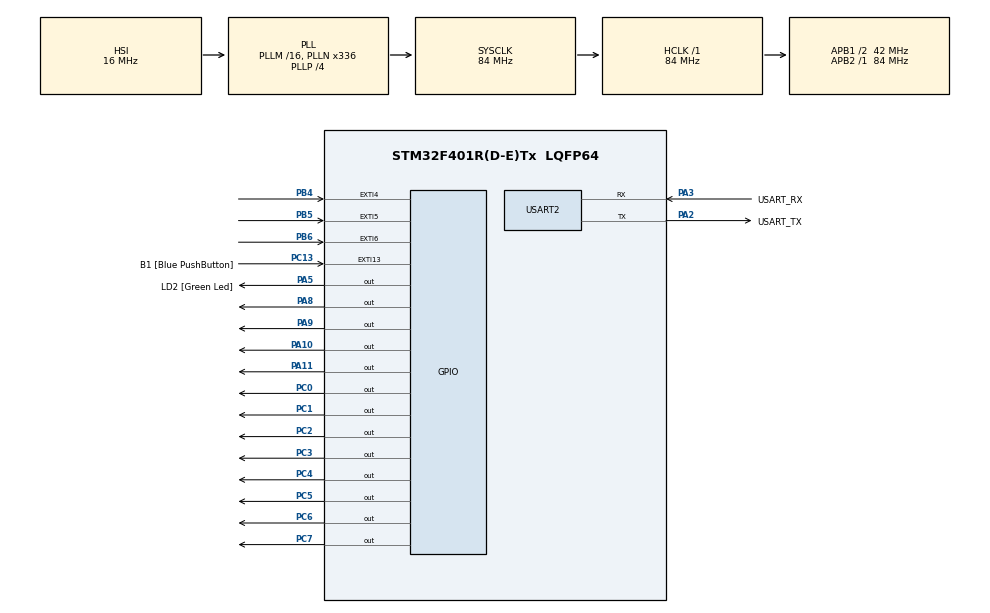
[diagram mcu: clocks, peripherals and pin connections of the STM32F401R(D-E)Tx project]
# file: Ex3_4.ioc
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Mcu.Family=STM32F4
Mcu.Name=STM32F401R(D-E)Tx
Mcu.Package=LQFP64
NVIC.EXTI15_10_IRQn=true\:0\:0\:false\:false\:true\:true\:true\:true
NVIC.EXTI4_IRQn=true\:0\:0\:false\:false\:true\:true\:true\:true
NVIC.EXTI9_5_IRQn=true\:0\:0\:false\:false\:true\:true\:true\:true
NVIC.PriorityGroup=NVIC_PRIORITYGROUP_0
PA10.Signal=GPIO_Output
PA11.Signal=GPIO_Output
PA13.GPIO_Label=TMS
PA13.Mode=Serial_Wire
PA13.Signal=SYS_JTMS-SWDIO
PA14.GPIO_Label=TCK
PA14.Mode=Serial_Wire
PA14.Signal=SYS_JTCK-SWCLK
PA2.GPIO_Label=USART_TX
PA2.GPIO_Mode=GPIO_MODE_AF_PP
PA2.GPIO_PuPd=GPIO_NOPULL
PA2.GPIO_Speed=GPIO_SPEED_FREQ_LOW
PA2.Mode=Asynchronous
PA2.Signal=USART2_TX
PA3.GPIO_Label=USART_RX
PA3.GPIO_Mode=GPIO_MODE_AF_PP
PA3.GPIO_PuPd=GPIO_NOPULL
PA3.GPIO_Speed=GPIO_SPEED_FREQ_LOW
PA3.Mode=Asynchronous
PA3.Signal=USART2_RX
PA5.GPIO_Label=LD2 [Green Led]
PA5.GPIO_Mode=GPIO_MODE_OUTPUT_PP
PA5.GPIO_PuPd=GPIO_NOPULL
PA5.GPIO_Speed=GPIO_SPEED_FREQ_LOW
PA5.Signal=GPIO_Output
PA8.Signal=GPIO_Output
PA9.Signal=GPIO_Output
PB3.GPIO_Label=SWO
PB3.Signal=SYS_JTDO-SWO
PB4.GPIO_PuPd=GPIO_PULLUP
PB4.Signal=GPXTI4
PB5.GPIO_ModeDefaultEXTI=GPIO_MODE_IT_FALLING
PB5.GPIO_PuPd=GPIO_PULLUP
PB5.Signal=GPXTI5
PB6.GPIO_ModeDefaultEXTI=GPIO_MODE_IT_RISING_FALLING
PB6.GPIO_PuPd=GPIO_PULLUP
PB6.Signal=GPXTI6
PC0.Signal=GPIO_Output
PC1.Signal=GPIO_Output
PC13-ANTI_TAMP.GPIO_Label=B1 [Blue PushButton]
PC13-ANTI_TAMP.GPIO_ModeDefaultEXTI=GPIO_MODE_IT_FALLING
PC13-ANTI_TAMP.GPIO_PuPd=GPIO_NOPULL
PC13-ANTI_TAMP.Signal=GPXTI13
PC14-OSC32_IN.Mode=LSE-External-Oscillator
PC14-OSC32_IN.Signal=RCC_OSC32_IN
PC15-OSC32_OUT.Mode=LSE-External-Oscillator
PC15-OSC32_OUT.Signal=RCC_OSC32_OUT
PC2.Signal=GPIO_Output
PC3.Signal=GPIO_Output
PC4.Signal=GPIO_Output
PC5.Signal=GPIO_Output
PC6.Signal=GPIO_Output
PC7.Signal=GPIO_Output
PH0\ -\ OSC_IN.Mode=HSE-External-Clock-Source
PH0\ -\ OSC_IN.Signal=RCC_OSC_IN
PH1\ -\ OSC_OUT.Mode=HSE-External-Clock-Source
PH1\ -\ OSC_OUT.Signal=RCC_OSC_OUT
ProjectManager.HeapSize=0x200
ProjectManager.StackSize=0x400
ProjectManager.TargetToolchain=STM32CubeIDE
RCC.48MHZClocksFreq_Value=48000000
RCC.AHBFreq_Value=84000000
RCC.APB1CLKDivider=RCC_HCLK_DIV2
RCC.APB1Freq_Value=42000000
RCC.APB1TimFreq_Value=84000000
RCC.APB2Freq_Value=84000000
RCC.APB2TimFreq_Value=84000000
RCC.CortexFreq_Value=84000000
RCC.HCLKFreq_Value=84000000
RCC.HSE_VALUE=8000000
RCC.HSI_VALUE=16000000
RCC.PLLN=336
RCC.PLLP=RCC_PLLP_DIV4
RCC.PLLQ=7
RCC.SYSCLKFreq_VALUE=84000000
RCC.SYSCLKSource=RCC_SYSCLKSOURCE_PLLCLK
RCC.VCOOutputFreq_Value=336000000
USART2.VirtualMode=VM_ASYNC
board=NUCLEO-F401RE

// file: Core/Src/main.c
/* USER CODE BEGIN Header */
/**
  ******************************************************************************
  * @file           : main.c
  * @brief          : Main program body
  ******************************************************************************
  * @attention
  *
  * Copyright (c) 2023 STMicroelectronics.
  * All rights reserved.
  *
  * This software is licensed under terms that can be found in the LICENSE file
  * in the root directory of this software component.
  * If no LICENSE file comes with this software, it is provided AS-IS.
  *
  ******************************************************************************
  */
/* USER CODE END Header */
#include "main.h"

UART_HandleTypeDef huart2;

/* USER CODE BEGIN PV */
uint32_t seg[10] = {
        0x003f00c0,  // 0
        0x000600f9,  // 1
        0x005b00a4,  // 2
        0x004f00b0,  // 3
        0x00660099,  // 4
        0x006d0092,  // 5
        0x007d0082,  // 6
        0x002700d8,  // 7
        0x007f0080,  // 8
        0x006f0090   // 9
};
/* USER CODE END PV */

void SystemClock_Config(void);
static void MX_GPIO_Init(void);
static void MX_USART2_UART_Init(void);

int main(void)
{

  /* MCU Configuration--------------------------------------------------------*/

  /* Reset of all peripherals, Initializes the Flash interface and the Systick. */
  HAL_Init();

  /* Configure the system clock */
  SystemClock_Config();

  /* Initialize all configured peripherals */
  MX_GPIO_Init();
  MX_USART2_UART_Init();

  /* Infinite loop */
  /* USER CODE BEGIN WHILE */
  while (1)
  {
	  HAL_GPIO_WritePin(GPIOA, GPIO_PIN_9 | GPIO_PIN_10 | GPIO_PIN_11, GPIO_PIN_SET);
	  HAL_GPIO_WritePin(GPIOA, GPIO_PIN_8, GPIO_PIN_RESET);
	  HAL_Delay(10);
	  HAL_GPIO_WritePin(GPIOA, GPIO_PIN_8 | GPIO_PIN_10 | GPIO_PIN_11, GPIO_PIN_SET);
	  HAL_GPIO_WritePin(GPIOA, GPIO_PIN_9, GPIO_PIN_RESET);
	  HAL_Delay(10);
	  HAL_GPIO_WritePin(GPIOA, GPIO_PIN_8 | GPIO_PIN_9 | GPIO_PIN_11, GPIO_PIN_SET);
	  HAL_GPIO_WritePin(GPIOA, GPIO_PIN_10, GPIO_PIN_RESET);
	  HAL_Delay(10);
	  HAL_GPIO_WritePin(GPIOA, GPIO_PIN_8 | GPIO_PIN_9 | GPIO_PIN_10, GPIO_PIN_SET);
	  HAL_GPIO_WritePin(GPIOA, GPIO_PIN_11, GPIO_PIN_RESET);
	  HAL_Delay(10);
    /* USER CODE END WHILE */

  }
}

void SystemClock_Config(void)
{
  RCC_OscInitTypeDef RCC_OscInitStruct = {0};
  RCC_ClkInitTypeDef RCC_ClkInitStruct = {0};

  /** Configure the main internal regulator output voltage
  */
  __HAL_RCC_PWR_CLK_ENABLE();
  __HAL_PWR_VOLTAGESCALING_CONFIG(PWR_REGULATOR_VOLTAGE_SCALE2);

  /** Initializes the RCC Oscillators according to the specified parameters
  * in the RCC_OscInitTypeDef structure.
  */
  RCC_OscInitStruct.OscillatorType = RCC_OSCILLATORTYPE_HSI;
  RCC_OscInitStruct.HSIState = RCC_HSI_ON;
  RCC_OscInitStruct.HSICalibrationValue = RCC_HSICALIBRATION_DEFAULT;
  RCC_OscInitStruct.PLL.PLLState = RCC_PLL_ON;
  RCC_OscInitStruct.PLL.PLLSource = RCC_PLLSOURCE_HSI;
  RCC_OscInitStruct.PLL.PLLM = 16;
  RCC_OscInitStruct.PLL.PLLN = 336;
  RCC_OscInitStruct.PLL.PLLP = RCC_PLLP_DIV4;
  RCC_OscInitStruct.PLL.PLLQ = 7;
  if (HAL_RCC_OscConfig(&RCC_OscInitStruct) != HAL_OK)
  {
    Error_Handler();
  }

  /** Initializes the CPU, AHB and APB buses clocks
  */
  RCC_ClkInitStruct.ClockType = RCC_CLOCKTYPE_HCLK|RCC_CLOCKTYPE_SYSCLK
                              |RCC_CLOCKTYPE_PCLK1|RCC_CLOCKTYPE_PCLK2;
  RCC_ClkInitStruct.SYSCLKSource = RCC_SYSCLKSOURCE_PLLCLK;
  RCC_ClkInitStruct.AHBCLKDivider = RCC_SYSCLK_DIV1;
  RCC_ClkInitStruct.APB1CLKDivider = RCC_HCLK_DIV2;
  RCC_ClkInitStruct.APB2CLKDivider = RCC_HCLK_DIV1;

  if (HAL_RCC_ClockConfig(&RCC_ClkInitStruct, FLASH_LATENCY_2) != HAL_OK)
  {
    Error_Handler();
  }
}

static void MX_USART2_UART_Init(void)
{

  huart2.Instance = USART2;
  huart2.Init.BaudRate = 115200;
  huart2.Init.WordLength = UART_WORDLENGTH_8B;
  huart2.Init.StopBits = UART_STOPBITS_1;
  huart2.Init.Parity = UART_PARITY_NONE;
  huart2.Init.Mode = UART_MODE_TX_RX;
  huart2.Init.HwFlowCtl = UART_HWCONTROL_NONE;
  huart2.Init.OverSampling = UART_OVERSAMPLING_16;
  if (HAL_UART_Init(&huart2) != HAL_OK)
  {
    Error_Handler();
  }

}

static void MX_GPIO_Init(void)
{
  GPIO_InitTypeDef GPIO_InitStruct = {0};

  /* GPIO Ports Clock Enable */
  __HAL_RCC_GPIOC_CLK_ENABLE();
  __HAL_RCC_GPIOH_CLK_ENABLE();
  __HAL_RCC_GPIOA_CLK_ENABLE();
  __HAL_RCC_GPIOB_CLK_ENABLE();

  /*Configure GPIO pin Output Level */
  HAL_GPIO_WritePin(GPIOC, GPIO_PIN_0|GPIO_PIN_1|GPIO_PIN_2|GPIO_PIN_3
                          |GPIO_PIN_4|GPIO_PIN_5|GPIO_PIN_6|GPIO_PIN_7, GPIO_PIN_RESET);

  /*Configure GPIO pin Output Level */
  HAL_GPIO_WritePin(GPIOA, LD2_Pin|GPIO_PIN_8|GPIO_PIN_9|GPIO_PIN_10
                          |GPIO_PIN_11, GPIO_PIN_RESET);

  /*Configure GPIO pin : B1_Pin */
  GPIO_InitStruct.Pin = B1_Pin;
  GPIO_InitStruct.Mode = GPIO_MODE_IT_FALLING;
  GPIO_InitStruct.Pull = GPIO_NOPULL;
  HAL_GPIO_Init(B1_GPIO_Port, &GPIO_InitStruct);

  /*Configure GPIO pins : PC0 PC1 PC2 PC3
                           PC4 PC5 PC6 PC7 */
  GPIO_InitStruct.Pin = GPIO_PIN_0|GPIO_PIN_1|GPIO_PIN_2|GPIO_PIN_3
                          |GPIO_PIN_4|GPIO_PIN_5|GPIO_PIN_6|GPIO_PIN_7;
  GPIO_InitStruct.Mode = GPIO_MODE_OUTPUT_PP;
  GPIO_InitStruct.Pull = GPIO_NOPULL;
  GPIO_InitStruct.Speed = GPIO_SPEED_FREQ_LOW;
  HAL_GPIO_Init(GPIOC, &GPIO_InitStruct);

  /*Configure GPIO pins : LD2_Pin PA8 PA9 PA10
                           PA11 */
  GPIO_InitStruct.Pin = LD2_Pin|GPIO_PIN_8|GPIO_PIN_9|GPIO_PIN_10
                          |GPIO_PIN_11;
  GPIO_InitStruct.Mode = GPIO_MODE_OUTPUT_PP;
  GPIO_InitStruct.Pull = GPIO_NOPULL;
  GPIO_InitStruct.Speed = GPIO_SPEED_FREQ_LOW;
  HAL_GPIO_Init(GPIOA, &GPIO_InitStruct);

  /*Configure GPIO pin : PB4 */
  GPIO_InitStruct.Pin = GPIO_PIN_4;
  GPIO_InitStruct.Mode = GPIO_MODE_IT_RISING;
  GPIO_InitStruct.Pull = GPIO_PULLUP;
  HAL_GPIO_Init(GPIOB, &GPIO_InitStruct);

  /*Configure GPIO pin : PB5 */
  GPIO_InitStruct.Pin = GPIO_PIN_5;
  GPIO_InitStruct.Mode = GPIO_MODE_IT_FALLING;
  GPIO_InitStruct.Pull = GPIO_PULLUP;
  HAL_GPIO_Init(GPIOB, &GPIO_InitStruct);

  /*Configure GPIO pin : PB6 */
  GPIO_InitStruct.Pin = GPIO_PIN_6;
  GPIO_InitStruct.Mode = GPIO_MODE_IT_RISING_FALLING;
  GPIO_InitStruct.Pull = GPIO_PULLUP;
  HAL_GPIO_Init(GPIOB, &GPIO_InitStruct);

  /* EXTI interrupt init*/
  HAL_NVIC_SetPriority(EXTI4_IRQn, 0, 0);
  HAL_NVIC_EnableIRQ(EXTI4_IRQn);

  HAL_NVIC_SetPriority(EXTI9_5_IRQn, 0, 0);
  HAL_NVIC_EnableIRQ(EXTI9_5_IRQn);

  HAL_NVIC_SetPriority(EXTI15_10_IRQn, 0, 0);
  HAL_NVIC_EnableIRQ(EXTI15_10_IRQn);

}

/* USER CODE BEGIN 4 */
void HAL_GPIO_EXTI_Callback(uint16_t GPIO_Pin)
{
	int8_t number;
	if((GPIOA->ODR & GPIO_PIN_8) == 0)
	{
		number = 1;
	}
	else if((GPIOA->ODR & GPIO_PIN_9) == 0)
	{
		number = 4;
	}
	else if((GPIOA->ODR & GPIO_PIN_10) == 0)
	{
		number = 7;
	}
	else if((GPIOA->ODR & GPIO_PIN_11) == 0)
	{
		number = 10;
	}
	else
	{
		number = 20;
	}

	switch(GPIO_Pin)
	{
	case GPIO_PIN_4:
		break;
	case GPIO_PIN_5:
		number += 1;
		break;
	case GPIO_PIN_6:
		number += 2;
		break;
	}

	if(number == 11)
	{
		number = 0;
	}
	if(number < 10)
	{
		GPIOC->BSRR = seg[number];
	}

}
/* USER CODE END 4 */

void Error_Handler(void)
{
  __disable_irq();
  while (1)
  {
  }
}
